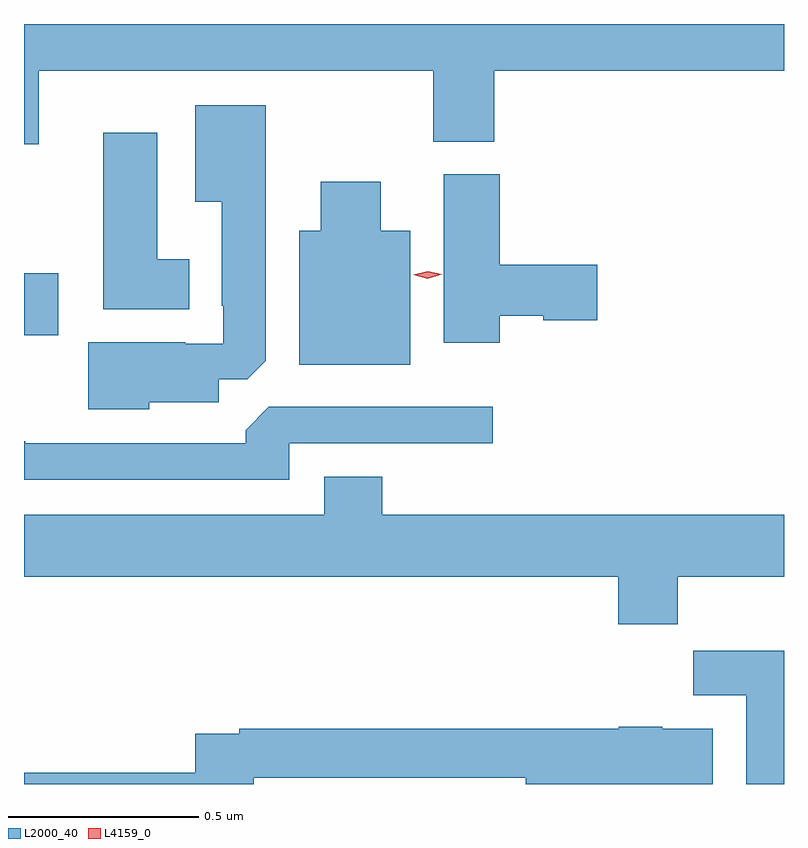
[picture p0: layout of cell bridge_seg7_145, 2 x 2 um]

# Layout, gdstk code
import gdstk
lib = gdstk.Library(unit=1e-6, precision=1e-09)
def R(c, l, rs):  # rectangles x0, y0, x1, y1
    for r in rs: c.add(gdstk.rectangle(r[:2], r[2:], *l))
def P(c, l, *ps):  # polygons
    for p in ps: c.add(gdstk.Polygon(p, *l))
L2000_40 = (2000, 40)
L4159_0 = (4159, 0)

bridge_seg7_145 = lib.new_cell('bridge_seg7_145')
R(bridge_seg7_145, L2000_40, [(719.245,1041.212,719.335,1041.375)])
P(bridge_seg7_145, L2000_40, [(719.284,1041.908),(720.322,1041.908),(720.322,1041.721),(720.482,1041.721),(720.482,1041.908),(721.245,1041.908),(721.245,1042.031),(719.245,1042.031),(719.245,1041.714),(719.284,1041.714)],
  [(719.574,1041.035),(719.758,1041.035),(719.758,1041.096),(719.832,1041.096),(719.881,1041.145),(719.881,1041.817),(719.696,1041.817),(719.696,1041.563),(719.765,1041.563),(719.765,1041.289),(719.769,1041.289),(719.769,1041.189),(719.669,1041.189),(719.669,1041.193),(719.414,1041.193),(719.414,1041.017),(719.574,1041.017)],
  [(719.68,1041.412),(719.596,1041.412),(719.596,1041.745),(719.453,1041.745),(719.453,1041.281),(719.68,1041.281)],
  [(720.497,1041.263),(720.611,1041.263),(720.611,1041.251),(720.754,1041.251),(720.754,1041.398),(720.497,1041.398),(720.497,1041.636),(720.35,1041.636),(720.35,1041.192),(720.497,1041.192)],
  [(720.262,1041.487),(720.184,1041.487),(720.184,1041.616),(720.026,1041.616),(720.026,1041.487),(719.969,1041.487),(719.969,1041.134),(720.262,1041.134)],
  [(719.943,1040.928),(720.478,1040.928),(720.478,1041.024),(719.889,1041.024),(719.828,1040.962),(719.828,1040.928),(719.248,1040.928),(719.248,1040.933),(719.245,1040.933),(719.245,1040.832),(719.943,1040.832)],
  [(720.965,1040.576),(721.245,1040.576),(721.245,1040.74),(720.188,1040.74),(720.188,1040.839),(720.035,1040.839),(720.035,1040.74),(719.245,1040.74),(719.245,1040.576),(720.809,1040.576),(720.809,1040.452),(720.965,1040.452)],
  [(721.245,1040.382),(721.006,1040.382),(721.006,1040.264),(721.145,1040.264),(721.145,1040.031),(721.245,1040.031)],
  [(719.849,1040.047),(720.566,1040.047),(720.566,1040.031),(721.057,1040.031),(721.057,1040.176),(720.924,1040.176),(720.924,1040.182),(720.81,1040.182),(720.81,1040.176),(719.812,1040.176),(719.812,1040.163),(719.696,1040.163),(719.696,1040.06),(719.245,1040.06),(719.245,1040.031),(719.849,1040.031)])
P(bridge_seg7_145, L4159_0, [(720.307,1041.361),(720.269,1041.371),(720.269,1041.371),(720.269,1041.371),(720.307,1041.381),(720.344,1041.372),(720.345,1041.372),(720.344,1041.372)])

lib.write_gds('bridge_seg7_145.gds')
